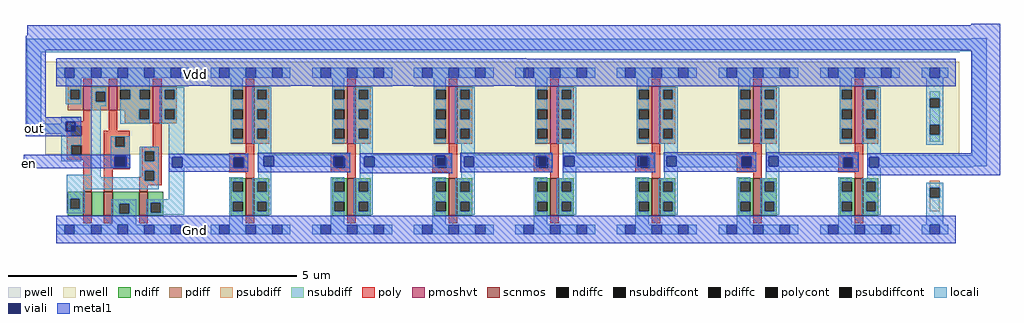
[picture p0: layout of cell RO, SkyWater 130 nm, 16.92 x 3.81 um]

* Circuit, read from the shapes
.subckt RO Vdd Gnd en out
XM1 n1 out n2 Gnd sky130_fd_pr__nfet_01v8 w=0.42 l=0.15
XM2 Gnd en n1 Gnd sky130_fd_pr__nfet_01v8 w=0.42 l=0.15
XM3 n3 n2 Gnd Gnd sky130_fd_pr__nfet_01v8 w=0.42 l=0.15
XM4 n4 n3 Gnd Gnd sky130_fd_pr__nfet_01v8 w=0.65 l=0.15
XM5 n5 n4 Gnd Gnd sky130_fd_pr__nfet_01v8 w=0.65 l=0.15
XM6 n6 n5 Gnd Gnd sky130_fd_pr__nfet_01v8 w=0.65 l=0.15
XM7 n7 n6 Gnd Gnd sky130_fd_pr__nfet_01v8 w=0.65 l=0.15
XM8 n8 n7 Gnd Gnd sky130_fd_pr__nfet_01v8 w=0.65 l=0.15
XM9 n9 n8 Gnd Gnd sky130_fd_pr__nfet_01v8 w=0.65 l=0.15
XM10 out n9 Gnd Gnd sky130_fd_pr__nfet_01v8 w=0.65 l=0.15
XM11 n2 out Vdd Vdd sky130_fd_pr__pfet_01v8_hvt w=0.42 l=0.15
XM12 Vdd en n2 Vdd sky130_fd_pr__pfet_01v8_hvt w=0.42 l=0.15
XM13 n3 n2 Vdd Vdd sky130_fd_pr__pfet_01v8_hvt w=0.64 l=0.15
XM14 n4 n3 Vdd Vdd sky130_fd_pr__pfet_01v8_hvt w=1 l=0.15
XM15 n5 n4 Vdd Vdd sky130_fd_pr__pfet_01v8_hvt w=1 l=0.15
XM16 n6 n5 Vdd Vdd sky130_fd_pr__pfet_01v8_hvt w=1 l=0.15
XM17 n7 n6 Vdd Vdd sky130_fd_pr__pfet_01v8_hvt w=1 l=0.15
XM18 n8 n7 Vdd Vdd sky130_fd_pr__pfet_01v8_hvt w=1 l=0.15
XM19 n9 n8 Vdd Vdd sky130_fd_pr__pfet_01v8_hvt w=1 l=0.15
XM20 out n9 Vdd Vdd sky130_fd_pr__pfet_01v8_hvt w=1 l=0.15
.ends

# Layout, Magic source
magic
tech sky130A
magscale 1 2
<< locali >>
rect 3174 662 3226 664
rect -102 618 3226 662
rect -102 614 3132 618
rect -100 366 -52 614
rect -100 332 28 366
rect 440 216 612 260
rect 740 254 954 260
rect 754 220 954 254
rect 1092 252 1308 260
rect 740 218 954 220
rect 1102 218 1308 252
rect 1446 252 1662 260
rect 1448 218 1662 252
rect 1092 216 1308 218
rect 1446 216 1662 218
rect 1796 216 2012 260
rect 2148 254 2364 260
rect 2500 254 2716 260
rect 3174 258 3226 618
rect 2150 220 2364 254
rect 2148 216 2364 220
rect 2504 220 2716 254
rect 2500 216 2716 220
rect 2852 220 3226 258
rect 2852 216 3180 220
<< viali >>
rect 32 340 66 374
rect 202 218 242 254
rect 402 216 436 250
rect 616 215 650 249
rect 720 220 754 254
rect 962 220 996 254
rect 1068 218 1102 252
rect 1314 222 1348 256
rect 1414 218 1448 252
rect 1664 220 1698 254
rect 1762 220 1796 254
rect 2016 220 2050 254
rect 2116 220 2150 254
rect 2376 218 2410 252
rect 2470 220 2504 254
rect 2728 215 2762 249
rect 2818 216 2852 250
<< metal1 >>
rect 3172 708 3272 714
rect -100 672 3272 708
rect -106 622 3272 672
rect -106 390 -36 622
rect 4 498 1630 594
rect 1634 496 3118 592
rect -106 374 86 390
rect -106 340 32 374
rect 66 340 86 374
rect -106 324 86 340
rect -112 254 256 260
rect -112 218 202 254
rect 242 218 256 254
rect -112 212 256 218
rect 390 250 666 262
rect 390 216 402 250
rect 436 249 666 250
rect 436 216 616 249
rect 390 215 616 216
rect 650 215 666 249
rect 390 200 666 215
rect 698 254 1020 266
rect 698 220 720 254
rect 754 220 962 254
rect 996 220 1020 254
rect 698 198 1020 220
rect 1052 256 1372 264
rect 1052 252 1314 256
rect 1052 218 1068 252
rect 1102 222 1314 252
rect 1348 222 1372 256
rect 1102 218 1372 222
rect 1052 196 1372 218
rect 1400 254 1720 266
rect 1400 252 1664 254
rect 1400 218 1414 252
rect 1448 220 1664 252
rect 1698 220 1720 254
rect 1448 218 1720 220
rect 1400 198 1720 218
rect 1756 254 2076 266
rect 1756 220 1762 254
rect 1796 220 2016 254
rect 2050 220 2076 254
rect 1756 198 2076 220
rect 2106 254 2426 268
rect 2106 220 2116 254
rect 2150 252 2426 254
rect 2150 220 2376 252
rect 2106 218 2376 220
rect 2410 218 2426 252
rect 2106 200 2426 218
rect 2462 254 2782 268
rect 3172 264 3272 622
rect 2462 220 2470 254
rect 2504 249 2782 254
rect 2504 220 2728 249
rect 2462 215 2728 220
rect 2762 215 2782 249
rect 2462 200 2782 215
rect 2812 250 3272 264
rect 2812 216 2818 250
rect 2852 216 3272 250
rect 2812 188 3272 216
rect 2 -48 3118 48
use sky130_fd_sc_hd__inv_1  sky130_fd_sc_hd__inv_1_6
transform 1 0 2648 0 1 0
box -38 -48 314 592
use sky130_fd_sc_hd__inv_1  sky130_fd_sc_hd__inv_1_5
transform 1 0 2296 0 1 0
box -38 -48 314 592
use sky130_fd_sc_hd__inv_1  sky130_fd_sc_hd__inv_1_4
transform 1 0 1944 0 1 0
box -38 -48 314 592
use sky130_fd_sc_hd__inv_1  sky130_fd_sc_hd__inv_1_3
transform 1 0 1592 0 1 0
box -38 -48 314 592
use sky130_fd_sc_hd__inv_1  sky130_fd_sc_hd__inv_1_2
transform 1 0 1240 0 1 0
box -38 -48 314 592
use sky130_fd_sc_hd__inv_1  sky130_fd_sc_hd__inv_1_1
transform 1 0 888 0 1 0
box -38 -48 314 592
use sky130_fd_sc_hd__inv_1  sky130_fd_sc_hd__inv_1_0
transform 1 0 536 0 1 0
box -38 -48 314 592
use sky130_fd_sc_hd__tapvpwrvgnd_1  sky130_fd_sc_hd__tapvpwrvgnd_1_0
transform 1 0 3000 0 1 0
box -38 -48 130 592
use sky130_fd_sc_hd__and2_0  sky130_fd_sc_hd__and2_0_0
transform 1 0 0 0 1 0
box -38 -48 498 592
<< labels >>
rlabel metal1 -96 226 -90 230 1 en
port 3 n
rlabel metal1 480 536 486 540 1 Vdd
port 1 n
rlabel metal1 480 -4 486 0 1 Gnd
port 2 n
rlabel metal1 -84 342 -70 362 1 out
port 4 n
<< end >>

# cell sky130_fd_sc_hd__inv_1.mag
magic
tech sky130A
magscale 1 2
<< nwell >>
rect -38 261 314 582
<< pwell >>
rect 29 -17 63 17
<< scnmos >>
rect 120 47 150 177
<< pmoshvt >>
rect 120 297 150 497
<< ndiff >>
rect 68 165 120 177
rect 68 131 76 165
rect 110 131 120 165
rect 68 97 120 131
rect 68 63 76 97
rect 110 63 120 97
rect 68 47 120 63
rect 150 165 202 177
rect 150 131 160 165
rect 194 131 202 165
rect 150 97 202 131
rect 150 63 160 97
rect 194 63 202 97
rect 150 47 202 63
<< pdiff >>
rect 68 485 120 497
rect 68 451 76 485
rect 110 451 120 485
rect 68 417 120 451
rect 68 383 76 417
rect 110 383 120 417
rect 68 349 120 383
rect 68 315 76 349
rect 110 315 120 349
rect 68 297 120 315
rect 150 485 202 497
rect 150 451 160 485
rect 194 451 202 485
rect 150 417 202 451
rect 150 383 160 417
rect 194 383 202 417
rect 150 349 202 383
rect 150 315 160 349
rect 194 315 202 349
rect 150 297 202 315
<< ndiffc >>
rect 76 131 110 165
rect 76 63 110 97
rect 160 131 194 165
rect 160 63 194 97
<< pdiffc >>
rect 76 451 110 485
rect 76 383 110 417
rect 76 315 110 349
rect 160 451 194 485
rect 160 383 194 417
rect 160 315 194 349
<< poly >>
rect 120 497 150 523
rect 120 265 150 297
rect 64 249 150 265
rect 64 215 80 249
rect 114 215 150 249
rect 64 199 150 215
rect 120 177 150 199
rect 120 21 150 47
<< polycont >>
rect 80 215 114 249
<< locali >>
rect 0 527 29 561
rect 63 527 121 561
rect 155 527 213 561
rect 247 527 276 561
rect 68 485 110 527
rect 68 451 76 485
rect 68 417 110 451
rect 68 383 76 417
rect 68 349 110 383
rect 68 315 76 349
rect 68 299 110 315
rect 144 485 210 493
rect 144 451 160 485
rect 194 451 210 485
rect 144 417 210 451
rect 144 383 160 417
rect 194 383 210 417
rect 144 349 210 383
rect 144 315 160 349
rect 194 315 210 349
rect 144 297 210 315
rect 64 249 130 263
rect 64 215 80 249
rect 114 215 130 249
rect 64 165 110 181
rect 164 177 210 297
rect 64 131 76 165
rect 64 97 110 131
rect 64 63 76 97
rect 64 17 110 63
rect 144 165 210 177
rect 144 131 160 165
rect 194 131 210 165
rect 144 97 210 131
rect 144 63 160 97
rect 194 63 210 97
rect 144 51 210 63
rect 0 -17 29 17
rect 63 -17 121 17
rect 155 -17 213 17
rect 247 -17 276 17
<< viali >>
rect 29 527 63 561
rect 121 527 155 561
rect 213 527 247 561
rect 29 -17 63 17
rect 121 -17 155 17
rect 213 -17 247 17
<< metal1 >>
rect 0 561 276 592
rect 0 527 29 561
rect 63 527 121 561
rect 155 527 213 561
rect 247 527 276 561
rect 0 496 276 527
rect 0 17 276 48
rect 0 -17 29 17
rect 63 -17 121 17
rect 155 -17 213 17
rect 247 -17 276 17
rect 0 -48 276 -17
<< labels >>
flabel corelocali s 164 289 198 323 0 FreeSans 340 0 0 0 Y
port 6 nsew
flabel corelocali s 164 221 198 255 0 FreeSans 340 0 0 0 Y
port 6 nsew
flabel corelocali s 72 221 106 255 0 FreeSans 340 0 0 0 A
port 1 nsew
flabel nbase s 29 527 63 561 0 FreeSans 200 0 0 0 VPB
port 4 nsew
flabel pwell s 29 -17 63 17 0 FreeSans 200 0 0 0 VNB
port 3 nsew
flabel metal1 s 29 -17 63 17 0 FreeSans 200 0 0 0 VGND
port 2 nsew
flabel metal1 s 29 527 63 561 0 FreeSans 200 0 0 0 VPWR
port 5 nsew
rlabel comment s 0 0 0 0 4 inv_1
<< properties >>
string FIXED_BBOX 0 0 276 544
string GDS_FILE /home/merlproj/backend-tools/pdks/open_pdks_updated/sky130/sky130A/libs.ref/sky130_fd_sc_hd/gds/sky130_fd_sc_hd.gds
string GDS_START 2108072
string GDS_END 2111566
string path 0.000 0.000 6.900 0.000 
<< end >>

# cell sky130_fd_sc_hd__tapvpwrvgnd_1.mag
magic
tech sky130A
magscale 1 2
<< nwell >>
rect -38 261 130 582
<< psubdiff >>
rect 29 145 63 169
rect 29 64 63 111
<< nsubdiff >>
rect 29 456 63 480
rect 29 363 63 422
rect 29 305 63 329
<< psubdiffcont >>
rect 29 111 63 145
<< nsubdiffcont >>
rect 29 422 63 456
rect 29 329 63 363
<< locali >>
rect 0 527 29 561
rect 63 527 92 561
rect 17 456 75 527
rect 17 422 29 456
rect 63 422 75 456
rect 17 363 75 422
rect 17 329 29 363
rect 63 329 75 363
rect 17 294 75 329
rect 17 145 75 162
rect 17 111 29 145
rect 63 111 75 145
rect 17 17 75 111
rect 0 -17 29 17
rect 63 -17 92 17
<< viali >>
rect 29 527 63 561
rect 29 -17 63 17
<< metal1 >>
rect 0 561 92 592
rect 0 527 29 561
rect 63 527 92 561
rect 0 496 92 527
rect 0 17 92 48
rect 0 -17 29 17
rect 63 -17 92 17
rect 0 -48 92 -17
<< labels >>
flabel metal1 s 22 524 75 553 0 FreeSans 200 0 0 0 VPWR
port 2 nsew
flabel metal1 s 21 -18 72 20 0 FreeSans 200 0 0 0 VGND
port 1 nsew
rlabel comment s 0 0 0 0 4 tapvpwrvgnd_1
<< properties >>
string FIXED_BBOX 0 0 92 544
string GDS_FILE /home/merlproj/backend-tools/pdks/open_pdks_updated/sky130/sky130A/libs.ref/sky130_fd_sc_hd/gds/sky130_fd_sc_hd.gds
string GDS_START 3127212
string GDS_END 3128832
<< end >>

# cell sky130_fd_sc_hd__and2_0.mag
magic
tech sky130A
magscale 1 2
<< nwell >>
rect -38 261 498 582
<< pwell >>
rect 29 -17 63 17
<< scnmos >>
rect 93 47 123 131
rect 165 47 195 131
rect 287 47 317 131
<< pmoshvt >>
rect 93 413 123 497
rect 181 413 211 497
rect 335 369 365 497
<< ndiff >>
rect 40 106 93 131
rect 40 72 48 106
rect 82 72 93 106
rect 40 47 93 72
rect 123 47 165 131
rect 195 89 287 131
rect 195 55 219 89
rect 253 55 287 89
rect 195 47 287 55
rect 317 93 370 131
rect 317 59 328 93
rect 362 59 370 93
rect 317 47 370 59
<< pdiff >>
rect 40 485 93 497
rect 40 451 48 485
rect 82 451 93 485
rect 40 413 93 451
rect 123 477 181 497
rect 123 443 136 477
rect 170 443 181 477
rect 123 413 181 443
rect 211 485 335 497
rect 211 451 222 485
rect 256 451 290 485
rect 324 451 335 485
rect 211 417 335 451
rect 211 413 288 417
rect 237 383 288 413
rect 322 383 335 417
rect 237 369 335 383
rect 365 485 418 497
rect 365 451 376 485
rect 410 451 418 485
rect 365 417 418 451
rect 365 383 376 417
rect 410 383 418 417
rect 365 369 418 383
<< ndiffc >>
rect 48 72 82 106
rect 219 55 253 89
rect 328 59 362 93
<< pdiffc >>
rect 48 451 82 485
rect 136 443 170 477
rect 222 451 256 485
rect 290 451 324 485
rect 288 383 322 417
rect 376 451 410 485
rect 376 383 410 417
<< poly >>
rect 93 497 123 523
rect 181 497 211 523
rect 335 497 365 523
rect 93 376 123 413
rect 36 360 123 376
rect 36 326 52 360
rect 86 326 123 360
rect 181 342 211 413
rect 36 292 123 326
rect 36 258 52 292
rect 86 258 123 292
rect 36 242 123 258
rect 93 131 123 242
rect 165 321 254 342
rect 165 287 204 321
rect 238 287 254 321
rect 335 287 365 369
rect 165 253 254 287
rect 165 219 204 253
rect 238 219 254 253
rect 165 209 254 219
rect 296 271 365 287
rect 296 237 306 271
rect 340 237 365 271
rect 165 131 195 209
rect 296 203 365 237
rect 296 183 306 203
rect 287 169 306 183
rect 340 169 365 203
rect 287 153 365 169
rect 287 131 317 153
rect 93 21 123 47
rect 165 21 195 47
rect 287 21 317 47
<< polycont >>
rect 52 326 86 360
rect 52 258 86 292
rect 204 287 238 321
rect 204 219 238 253
rect 306 237 340 271
rect 306 169 340 203
<< locali >>
rect 0 527 29 561
rect 63 527 121 561
rect 155 527 213 561
rect 247 527 305 561
rect 339 527 397 561
rect 431 527 460 561
rect 32 485 86 527
rect 32 451 48 485
rect 82 451 86 485
rect 32 435 86 451
rect 120 477 173 493
rect 120 443 136 477
rect 170 443 173 477
rect 120 427 173 443
rect 222 485 324 527
rect 256 451 290 485
rect 17 360 86 391
rect 17 326 52 360
rect 17 292 86 326
rect 17 258 52 292
rect 17 237 86 258
rect 120 190 154 427
rect 222 417 324 451
rect 222 383 288 417
rect 322 383 324 417
rect 222 367 324 383
rect 358 485 443 493
rect 358 451 376 485
rect 410 451 443 485
rect 358 417 443 451
rect 358 383 376 417
rect 410 383 443 417
rect 358 367 443 383
rect 188 321 254 323
rect 188 287 204 321
rect 238 287 254 321
rect 188 253 254 287
rect 188 219 204 253
rect 238 219 254 253
rect 188 216 254 219
rect 290 271 356 287
rect 290 237 306 271
rect 340 237 356 271
rect 37 182 154 190
rect 290 203 356 237
rect 290 182 306 203
rect 37 169 306 182
rect 340 169 356 203
rect 37 139 356 169
rect 37 106 98 139
rect 37 72 48 106
rect 82 72 98 106
rect 390 105 443 367
rect 37 56 98 72
rect 190 89 278 105
rect 190 55 219 89
rect 253 55 278 89
rect 190 17 278 55
rect 312 93 443 105
rect 312 59 328 93
rect 362 59 443 93
rect 312 51 443 59
rect 0 -17 29 17
rect 63 -17 121 17
rect 155 -17 213 17
rect 247 -17 305 17
rect 339 -17 397 17
rect 431 -17 460 17
<< viali >>
rect 29 527 63 561
rect 121 527 155 561
rect 213 527 247 561
rect 305 527 339 561
rect 397 527 431 561
rect 29 -17 63 17
rect 121 -17 155 17
rect 213 -17 247 17
rect 305 -17 339 17
rect 397 -17 431 17
<< metal1 >>
rect 0 561 460 592
rect 0 527 29 561
rect 63 527 121 561
rect 155 527 213 561
rect 247 527 305 561
rect 339 527 397 561
rect 431 527 460 561
rect 0 496 460 527
rect 0 17 460 48
rect 0 -17 29 17
rect 63 -17 121 17
rect 155 -17 213 17
rect 247 -17 305 17
rect 339 -17 397 17
rect 431 -17 460 17
rect 0 -48 460 -17
<< labels >>
flabel pwell s 29 -17 63 17 0 FreeSans 200 0 0 0 VNB
port 4 nsew
flabel nbase s 29 527 63 561 0 FreeSans 200 0 0 0 VPB
port 5 nsew
flabel metal1 s 29 527 63 561 0 FreeSans 200 0 0 0 VPWR
port 6 nsew
flabel metal1 s 29 -17 63 17 0 FreeSans 200 0 0 0 VGND
port 3 nsew
flabel corelocali s 397 425 431 459 0 FreeSans 340 0 0 0 X
port 7 nsew
flabel corelocali s 213 289 247 323 0 FreeSans 340 0 0 0 B
port 2 nsew
flabel corelocali s 29 357 63 391 0 FreeSans 340 0 0 0 A
port 1 nsew
rlabel comment s 0 0 0 0 4 and2_0
<< properties >>
string FIXED_BBOX 0 0 460 544
string GDS_FILE /home/merlproj/backend-tools/pdks/open_pdks_updated/sky130/sky130A/libs.ref/sky130_fd_sc_hd/gds/sky130_fd_sc_hd.gds
string GDS_START 3429466
string GDS_END 3433888
string path 0.000 0.000 11.500 0.000 
<< end >>
